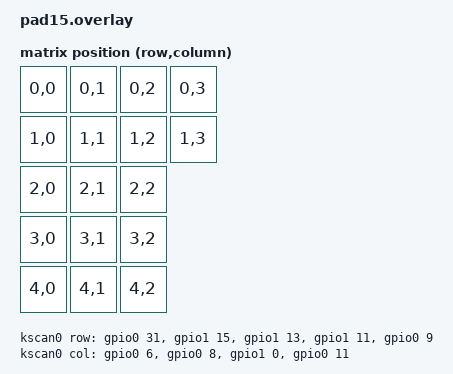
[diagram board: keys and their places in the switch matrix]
#include <dt-bindings/zmk/matrix_transform.h>
#include <dt-bindings/led/led.h>
#include <dt-bindings/pinctrl/nrf-pinctrl.h>
#include "pad15.dtsi"

/{
    chosen {
	zmk,kscan = &kscan0;
    zmk,matrix_transform = &transform;
    zmk,underglow = &led_strip;
};


    /* 3. 复合 kscan */
    kscan0: kscan {
        compatible = "zmk,kscan-gpio-matrix";
        diode-direction = "col2row";
        col-gpios = <&gpio0 6 GPIO_ACTIVE_HIGH>,
                    <&gpio0 8 GPIO_ACTIVE_HIGH>,
                    <&gpio1 0 GPIO_ACTIVE_HIGH>,
                    <&gpio0 11 GPIO_ACTIVE_HIGH>;
        row-gpios = <&gpio0 31 (GPIO_ACTIVE_HIGH | GPIO_PULL_DOWN)>,
                    <&gpio1 15 (GPIO_ACTIVE_HIGH | GPIO_PULL_DOWN)>,
                    <&gpio1 13 (GPIO_ACTIVE_HIGH | GPIO_PULL_DOWN)>,
                    <&gpio1 11 (GPIO_ACTIVE_HIGH | GPIO_PULL_DOWN)>,
                    <&gpio0 9 (GPIO_ACTIVE_HIGH | GPIO_PULL_DOWN)>;
    };


    /* 2. 矩阵转换 */
	transform: matrix_transform {
		compatible = "zmk,matrix-transform";
		rows = <5>;
		columns = <4>;
		map = <
			RC(0,0) RC(0,1) RC(0,2) RC(0,3)
			RC(1,0) RC(1,1) RC(1,2) RC(1,3)
			RC(2,0) RC(2,1) RC(2,2) 
			RC(3,0) RC(3,1) RC(3,2) 
			RC(4,0) RC(4,1) RC(4,2) 
									
		>;
	};

};

/* WS2812 灯带 */
&pinctrl {
	spi3_default: spi3_default {
		group1 {
			psels = <NRF_PSEL(SPIM_MOSI, 0, 10)>;
		};
	};

	spi3_sleep: spi3_sleep {
		group1 {
			psels = <NRF_PSEL(SPIM_MOSI, 0, 10)>;
			low-power-enable;
		};
	};
};

&spi3 {
	compatible = "nordic,nrf-spim";
	status = "okay";
	pinctrl-0 = <&spi3_default>;
	pinctrl-1 = <&spi3_sleep>;
	pinctrl-names = "default", "sleep";

	led_strip: ws2812@0 {
		compatible = "worldsemi,ws2812-spi";
		reg = <0>;
		spi-max-frequency = <4000000>;
		chain-length = <16>;
		spi-one-frame = <0x70>;
		spi-zero-frame = <0x40>;
		color-mapping = <LED_COLOR_ID_GREEN LED_COLOR_ID_RED LED_COLOR_ID_BLUE>;
	};
};





